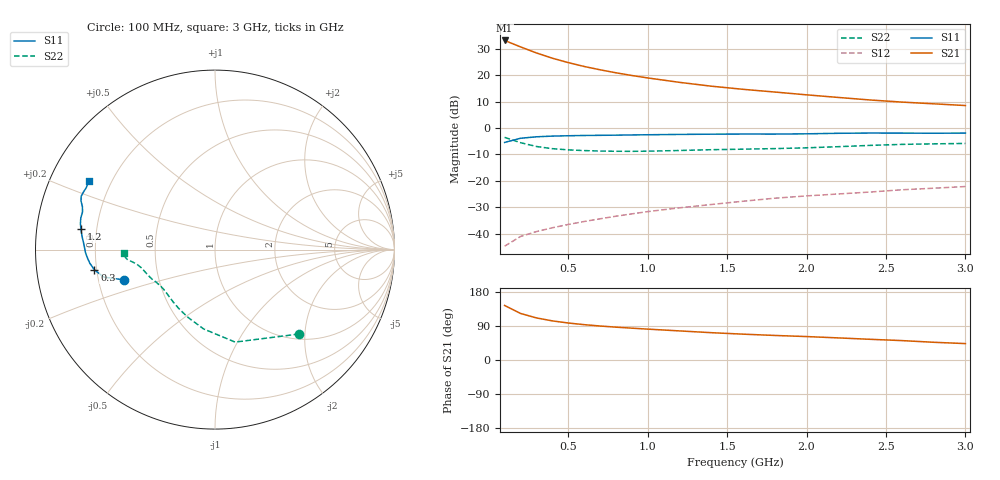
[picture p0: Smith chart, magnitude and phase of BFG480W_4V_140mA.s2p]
! Filename: 4140BFG480.001
! Title: BFG480W
! Bias: Vce=4V; Ic=140mA
! Company: Philips Semiconductors NL
! User: Quality&Reliability T&D
! Measure time: 10 Nov 1999 / 12:04:49
#  MHz  S  MA  R 50
! Freq  S11  S21  S12  S22  :
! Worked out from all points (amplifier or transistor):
!   20 points, 100 MHz to 3 GHz, reference 50 ohm
!   highest |S21| = 33.2 dB at 100 MHz (marker M1)
!   |S21| within 3 dB of that: start of sweep to 224.7 MHz
!   unconditionally stable (mu >= 1): 509.9 MHz to end of sweep
!   at 400 MHz: K = 0.93, MSG = 32.1 dB, |S12| = -37.8 dB
!   at 1.2 GHz: K = 1.12, MAG = 21.7 dB, |S12| = -30.2 dB
!   at 3 GHz: K = 1.07, MAG = 13.7 dB, |S12| = -22.2 dB
!   S11 on the Smith chart (normalised r, x): 100 MHz: 0.31, -0.15; 300 MHz: 0.19, -0.08; 1.2 GHz: 0.14, +0.07; 3 GHz: 0.12, +0.25
100  0.5332 -161.6  45.5 143.9  0.005782 66.5  0.6641 -45.1
200  0.639 -166.1  34.38 122.9  0.008814 60.5  0.5275 -77.7
300  0.6812 -170.5  26.42 111.1  0.01092 60.9  0.4465 -98.2
400  0.7022 -173.9  21 103.2  0.01289 63.3  0.4062 -111.9
500  0.7131 -176.5  17.34 97.6  0.01488 65.9  0.3854 -121.5
600  0.7218 -178.7  14.65 93.3  0.01694 67.9  0.3735 -128.5
700  0.7268 179.3  12.67 89.7  0.01905 70.1  0.3663 -133.9
800  0.7319 177.4  11.12 86.7  0.02134 71.6  0.3625 -138.3
900  0.7388 175.7  9.876 84.0  0.02362 73.3  0.3616 -142.1
1000  0.745 174.1  8.884 81.5  0.02609 74.3  0.3639 -145.6
1200  0.7557 171.3  7.325 76.8  0.03076 75.6  0.375 -151.1
1400  0.7637 169.1  6.198 72.1  0.03555 76.5  0.3882 -155.1
1600  0.7681 166.8  5.404 68.2  0.04099 77.0  0.3972 -158.3
1800  0.7672 164.2  4.801 64.8  0.04681 77.3  0.4072 -161.8
2000  0.7761 162.1  4.249 61.8  0.05175 77.8  0.4212 -165.9
2200  0.794 160.1  3.791 58.3  0.05632 77.6  0.4427 -169.4
2400  0.8025 158.3  3.393 54.6  0.06128 76.9  0.4685 -171.8
2600  0.8002 156.6  3.098 51.2  0.06761 76.1  0.4895 -173.2
2800  0.7958 154.2  2.871 46.8  0.07239 74.7  0.5008 -175.0
3000  0.8008 151.6  2.665 43.3  0.0779 73.7  0.51 -177.8
